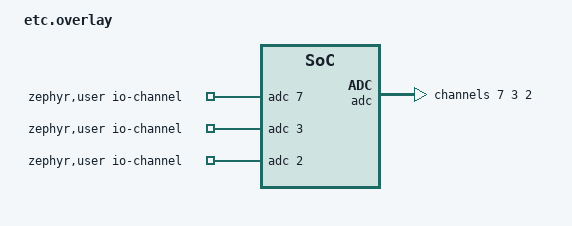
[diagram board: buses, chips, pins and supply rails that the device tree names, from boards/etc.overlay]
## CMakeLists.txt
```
cmake_minimum_required(VERSION 3.13.1)

find_package(Zephyr REQUIRED HINTS $ENV{ZEPHYR_BASE})

if(DEFINED ENV{VERSION})
project(app LANGUAGES C VERSION $ENV{VERSION})
else()
project(app LANGUAGES C VERSION 1.0.0)
endif()

target_sources(app PRIVATE src/main.c)
```

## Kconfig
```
menu "Zephyr Kernel"
source "$ZEPHYR_BASE/Kconfig.zephyr"
endmenu

module = ETC_APP
module-str = ETC App
source "${ZEPHYR_BASE}/subsys/logging/Kconfig.template.log_config"
```

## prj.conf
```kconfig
# General config
CONFIG_NEWLIB_LIBC=y
CONFIG_NEWLIB_LIBC_FLOAT_PRINTF=y
CONFIG_ASSERT=y
CONFIG_REBOOT=y
CONFIG_RESET_ON_FATAL_ERROR=n
CONFIG_FPU=y
CONFIG_FW_INFO=y

# Heap and stacks
CONFIG_HW_STACK_PROTECTION=y

# Flash Settings
CONFIG_FLASH=y
CONFIG_FLASH_PAGE_LAYOUT=y
CONFIG_FLASH_MAP=y
CONFIG_SOC_FLASH_NRF_UICR=y
CONFIG_MPU_ALLOW_FLASH_WRITE=y
CONFIG_STREAM_FLASH_LOG_LEVEL_DBG=y

# Application Event Manager
# CONFIG_APP_EVENT_MANAGER=y
# CONFIG_APP_EVENT_MANAGER_LOG_EVENT_TYPE=n
# CONFIG_ETC_APP_LOG_LEVEL_DBG=y

# Enable uart console
CONFIG_SHELL_PROMPT_UART="etc:~$ "
CONFIG_USB_DEVICE_STACK=y
CONFIG_USB_DEVICE_INITIALIZE_AT_BOOT=y
CONFIG_UART_LINE_CTRL=y

# CONFIG_WATCHDOG_LOG_LEVEL_DBG=y
# CONFIG_DATA_FS_LOG_LEVEL_DBG=y
# CONFIG_DATE_TIME_LOG_LEVEL_DBG=y
# CONFIG_PCF85263_LOG_LEVEL_DBG=y

CONFIG_MCUBOOT_IMAGE_VERSION="1.0.3+0"

# Enable Data File system for ETC logging

# Enable Date Time customize with BG95

# Enable Power Management module
CONFIG_PM=y
CONFIG_PM_DEVICE=y
CONFIG_PM_DEVICE_RUNTIME=y
```

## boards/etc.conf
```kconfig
# Network
CONFIG_NETWORKING=y
CONFIG_NET_NATIVE=n
CONFIG_NET_IPV4=y
CONFIG_NET_IPV6=n
CONFIG_NRF_MODEM_LIB=n
CONFIG_NET_LOG=y

CONFIG_MODEM=y
CONFIG_MODEM_QUECTEL_BG95_M3=y
CONFIG_MODEM_QUECTEL_BG95_M3_APN="teal"
CONFIG_MODEM_LOG_LEVEL_DBG=y
CONFIG_MODEM_CONTEXT_VERBOSE_DEBUG=n
CONFIG_NET_SOCKETS=y
CONFIG_NET_SOCKETS_OFFLOAD=y
CONFIG_NET_SOCKETS_SOCKOPT_TLS=y
CONFIG_NET_SOCKETS_OFFLOAD_TLS=y

CONFIG_LOG=y
CONFIG_LOG_BUFFER_SIZE=4096
CONFIG_NET_LOG=y

# Heap and stacks
CONFIG_HEAP_MEM_POOL_SIZE=8192
CONFIG_MAIN_STACK_SIZE=4096
CONFIG_SYSTEM_WORKQUEUE_STACK_SIZE=4096

# Non-volatile Storage
CONFIG_NVS=y

# Enable statistics and statistic names.
CONFIG_STATS=y
CONFIG_STATS_NAMES=y

# Disable boot banner. printk outputs get dropped w/ usbcdc
CONFIG_BOOT_BANNER=n

# CJSON
CONFIG_CJSON_LIB=y

# Peripherals
CONFIG_ADC=y
CONFIG_ADC_MODULES_SAMPLE_RATE_MSEC=30000
CONFIG_ADC_MODULES=y

# Bluetooth
# CONFIG_BT=y
# CONFIG_BT_CTLR=y

# PMIC
CONFIG_SENSOR=y
CONFIG_BQ24195=y
CONFIG_BQ24195_LOG_LEVEL_DBG=y

# Shell interface
CONFIG_SHELL=y
CONFIG_SHELL_BACKEND_SERIAL=y
CONFIG_SHELL_BACKEND_DUMMY_BUF_SIZE=512

# LoRa config
CONFIG_LORA=n
CONFIG_LORA_SX12XX=n
```

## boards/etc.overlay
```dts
/ {
	chosen {
		nordic,pm-ext-flash = &mx25r1635;
	};
};

/* A7 = P0.31 = AIN7 - ADC_AMB */ 
/* A3 = P0.5  = AIN3 - ADC_BATT*/
/* A2 = P0.4 = AIN2 - ADC_TH*/
/ {
	zephyr,user {
		/* adjust channel number according to pinmux in board.dts */
		io-channels = <&adc 7>, <&adc 3>, <&adc 2>;
	};

	ntc {
		compatible = "temp,ntc";
		b-value-k = <3380>;
		norminal-25c-ohms = <10000>;
		reference-res-ohms = <10000>;
	};
};

&adc {
	#address-cells = <1>;
	#size-cells = <0>;

	channel@7 {
		reg = <7>;
		zephyr,gain = "ADC_GAIN_1_6";
		zephyr,reference = "ADC_REF_INTERNAL";
		zephyr,acquisition-time = <ADC_ACQ_TIME_DEFAULT>;
		zephyr,input-positive = <NRF_SAADC_AIN7>; 
		zephyr,resolution = <12>;
		zephyr,oversampling = <8>;
	};

	channel@3 {
		reg = <3>;
		zephyr,gain = "ADC_GAIN_1_6";
		zephyr,reference = "ADC_REF_INTERNAL";
		zephyr,acquisition-time = <ADC_ACQ_TIME_DEFAULT>;
		zephyr,input-positive = <NRF_SAADC_AIN3>;
		zephyr,resolution = <12>;
		zephyr,oversampling = <8>;
	};

	channel@2 {
		reg = <2>;
		zephyr,gain = "ADC_GAIN_1_6";
		zephyr,reference = "ADC_REF_INTERNAL";
		zephyr,acquisition-time = <ADC_ACQ_TIME_DEFAULT>;
		zephyr,input-positive = <NRF_SAADC_AIN2>;
		zephyr,resolution = <12>;
		zephyr,oversampling = <8>;
	};
};
```

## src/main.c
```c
#include <zephyr/kernel.h>
#include <stdio.h>
#include <stdlib.h>
#include <zephyr/drivers/gpio.h>
#include <zephyr/usb/usb_device.h>
#include <zephyr/dfu/mcuboot.h>
#include <zephyr/pm/pm.h>
#include <zephyr/pm/device.h>
#include <zephyr/device.h>
#include <zephyr/pm/device_runtime.h>
#include <zephyr/drivers/hwinfo.h>
#include <zephyr/stats/stats.h>
#include <zephyr/storage/flash_map.h>
#include <zephyr/sys/reboot.h>
#include <zephyr/logging/log.h>
#include <modem_api.h>

LOG_MODULE_REGISTER(main, CONFIG_ETC_APP_LOG_LEVEL);

#ifdef CONFIG_MCUMGR_CMD_FS_MGMT
#include <zephyr/device.h>
#endif
#ifdef CONFIG_MCUMGR_CMD_OS_MGMT
#include "os_mgmt/os_mgmt.h"
#endif
#ifdef CONFIG_MCUMGR_CMD_IMG_MGMT
#include "img_mgmt/img_mgmt.h"
#endif
#ifdef CONFIG_MCUMGR_CMD_STAT_MGMT
#include "stat_mgmt/stat_mgmt.h"
#endif
#ifdef CONFIG_MCUMGR_CMD_SHELL_MGMT
#include "shell_mgmt/shell_mgmt.h"
#endif
#ifdef CONFIG_MCUMGR_CMD_FS_MGMT
#include "fs_mgmt/fs_mgmt.h"
#endif

/* Define an example stats group; approximates seconds since boot. */
STATS_SECT_START(smp_svr_stats)
STATS_SECT_ENTRY(ticks)
STATS_SECT_END;

/* Assign a name to the `ticks` stat. */
STATS_NAME_START(smp_svr_stats)
STATS_NAME(smp_svr_stats, ticks)
STATS_NAME_END(smp_svr_stats);
/* Define an instance of the stats group. */
STATS_SECT_DECL(smp_svr_stats) smp_svr_stats;

int main_external_flash_erase(unsigned int id)
{
	const struct flash_area *pfa;
	int rc;

	rc = flash_area_open(id, &pfa);
	if (rc < 0) {
		LOG_ERR("FAIL: unable to find flash area %u: %d\n",
			id, rc);
		return rc;
	}

	LOG_INF("Area %u at 0x%x for %u bytes",
		   id, (unsigned int)pfa->fa_off, (unsigned int)pfa->fa_size);

	/* Optional wipe flash contents */
	if (IS_ENABLED(CONFIG_APP_WIPE_STORAGE)) {
		rc = flash_area_erase(pfa, 0, pfa->fa_size);
		LOG_ERR("Erasing flash area ... %d", rc);
	}

	flash_area_close(pfa);
	return rc;
}

void main(void)
{
	int rc = STATS_INIT_AND_REG(smp_svr_stats, STATS_SIZE_32,
		"smp_svr_stats");
	if (rc < 0) {
		LOG_ERR("Error initializing stats system [%d]", rc);
	}
#if 0
	rc = main_external_flash_erase((uintptr_t)mount_point->storage_dev);
	if (rc < 0) {
		LOG_ERR("Failed to erase flash memory %d", rc);
		return;
	}
#endif 

	const struct device *modem_dev;
	modem_dev = device_get_binding("quectel-bg95");
	if (modem_dev == NULL) {
		LOG_ERR("Unable to get modem device");
	}
	pm_device_runtime_enable(modem_dev);

	k_sleep(K_SECONDS(10));

	pm_device_runtime_get(modem_dev);

	while (!quectel_bg95_is_ready()) {
		k_sleep(K_SECONDS(1));
	}

	if (quectel_bg95_is_ready()) {
		LOG_INF("BG95 ready!");
	}

	/* The system work queue handles all incoming mcumgr requests.  Let the
	 * main thread idle while the mcumgr server runs.
	 */
	while (true) {
		k_sleep(K_SECONDS(1));
	}
}
```
